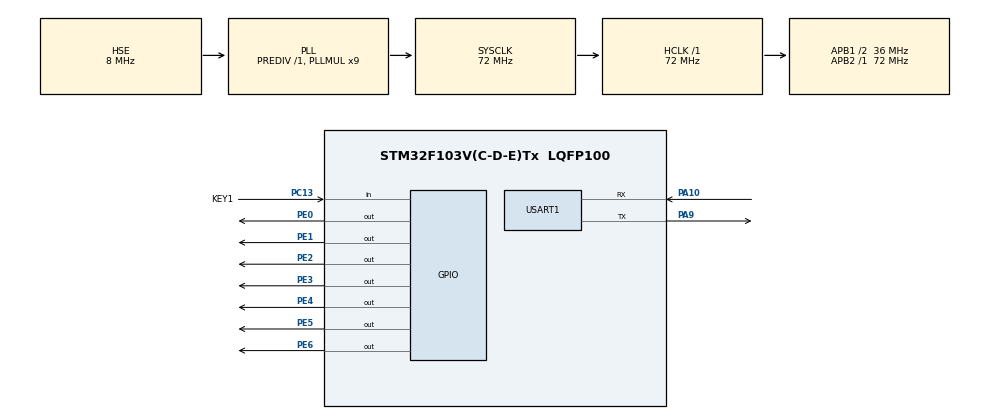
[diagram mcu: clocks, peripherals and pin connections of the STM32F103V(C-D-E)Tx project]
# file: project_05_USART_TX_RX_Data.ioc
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Mcu.Family=STM32F1
Mcu.Name=STM32F103V(C-D-E)Tx
Mcu.Package=LQFP100
NVIC.PriorityGroup=NVIC_PRIORITYGROUP_4
NVIC.USART1_IRQn=true\:0\:0\:false\:false\:true\:true\:true
OSC_IN.Mode=HSE-External-Oscillator
OSC_IN.Signal=RCC_OSC_IN
OSC_OUT.Mode=HSE-External-Oscillator
OSC_OUT.Signal=RCC_OSC_OUT
PA10.Mode=Asynchronous
PA10.Signal=USART1_RX
PA13.Mode=Serial_Wire
PA13.Signal=SYS_JTMS-SWDIO
PA14.Mode=Serial_Wire
PA14.Signal=SYS_JTCK-SWCLK
PA9.Mode=Asynchronous
PA9.Signal=USART1_TX
PC13-TAMPER-RTC.GPIO_Label=KEY1
PC13-TAMPER-RTC.GPIO_PuPd=GPIO_PULLUP
PC13-TAMPER-RTC.Signal=GPIO_Input
PC14-OSC32_IN.Mode=LSE-External-Oscillator
PC14-OSC32_IN.Signal=RCC_OSC32_IN
PC15-OSC32_OUT.Mode=LSE-External-Oscillator
PC15-OSC32_OUT.Signal=RCC_OSC32_OUT
PE0.PinState=GPIO_PIN_SET
PE0.Signal=GPIO_Output
PE1.PinState=GPIO_PIN_SET
PE1.Signal=GPIO_Output
PE2.PinState=GPIO_PIN_SET
PE2.Signal=GPIO_Output
PE3.PinState=GPIO_PIN_SET
PE3.Signal=GPIO_Output
PE4.PinState=GPIO_PIN_SET
PE4.Signal=GPIO_Output
PE5.PinState=GPIO_PIN_SET
PE5.Signal=GPIO_Output
PE6.PinState=GPIO_PIN_SET
PE6.Signal=GPIO_Output
ProjectManager.HeapSize=0x200
ProjectManager.StackSize=0x400
ProjectManager.TargetToolchain=STM32CubeIDE
RCC.AHBFreq_Value=72000000
RCC.APB1CLKDivider=RCC_HCLK_DIV2
RCC.APB1Freq_Value=36000000
RCC.APB1TimFreq_Value=72000000
RCC.APB2Freq_Value=72000000
RCC.APB2TimFreq_Value=72000000
RCC.HCLKFreq_Value=72000000
RCC.PLLMUL=RCC_PLL_MUL9
RCC.PLLSourceVirtual=RCC_PLLSOURCE_HSE
RCC.SYSCLKFreq_VALUE=72000000
RCC.SYSCLKSource=RCC_SYSCLKSOURCE_PLLCLK
RCC.USBFreq_Value=72000000
USART1.VirtualMode=VM_ASYNC
board=custom

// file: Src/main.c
/* USER CODE BEGIN Header */
/**
  ******************************************************************************
  * @file           : main.c
  * @brief          : Main program body
  ******************************************************************************
  * @attention
  *
  * <h2><center>&copy; Copyright (c) 2020 STMicroelectronics.
  * All rights reserved.</center></h2>
  *
  * This software component is licensed by ST under BSD 3-Clause license,
  * the "License"; You may not use this file except in compliance with the
  * License. You may obtain a copy of the License at:
  *                        opensource.org/licenses/BSD-3-Clause
  *
  ******************************************************************************
  */
/* USER CODE END Header */

#include "main.h"
#include "usart.h"
#include "gpio.h"

void SystemClock_Config(void);

/* USER CODE BEGIN 0 */
//LED灯开关宏定义
#define LED0_ON() HAL_GPIO_WritePin(GPIOE,GPIO_PIN_0,GPIO_PIN_RESET)
#define LED0_OFF() HAL_GPIO_WritePin(GPIOE,GPIO_PIN_0,GPIO_PIN_SET)
#define LED1_ON() HAL_GPIO_WritePin(GPIOE,GPIO_PIN_1,GPIO_PIN_RESET)
#define LED1_OFF() HAL_GPIO_WritePin(GPIOE,GPIO_PIN_1,GPIO_PIN_SET)
//定义发???数据的字符??
uint8_t TX_Restr[] = "hellochen\r\n";
uint8_t TX_str1[] = "open\r\n";
uint8_t TX_str2[] = "close\r\n";
uint8_t Rx_data = 0;

//接收数据回调函数
void HAL_UART_RxCpltCallback(UART_HandleTypeDef *huart) {
    if (huart->Instance == USART1) {
        if (Rx_data == 0x01) {
            LED1_ON();

            LED0_ON();
            HAL_UART_Transmit(&huart1, TX_str1, sizeof(TX_str1), 10000);
            LED0_OFF();
            HAL_UART_Receive_IT(&huart1, &Rx_data, 1);
        } else if (Rx_data == 0x02) {
            LED1_OFF();

            LED0_ON();
            HAL_UART_Transmit(&huart1, TX_str2, sizeof(TX_str2), 10000);
            LED0_OFF();
            HAL_UART_Receive_IT(&huart1, &Rx_data, 1);
        }
    }
}

/* USER CODE END 0 */

int main(void)
{

    /* MCU Configuration--------------------------------------------------------*/

    /* Reset of all peripherals, Initializes the Flash interface and the Systick. */
    HAL_Init();

    /* Configure the system clock */
    SystemClock_Config();

    /* Initialize all configured peripherals */
    MX_GPIO_Init();
    MX_USART1_UART_Init();
    /* USER CODE BEGIN 2 */
//    LED0_ON();
//    HAL_UART_Transmit(&huart1, TX_Restr, sizeof(TX_Restr), 10000);
//    LED0_OFF();
    LED1_ON();
    HAL_UART_Receive_IT(&huart1, &Rx_data, 1);
    LED1_OFF();
    HAL_UART_Transmit(&huart1, TX_Restr, sizeof(TX_Restr), 10000);
    /* USER CODE END 2 */

    /* Infinite loop */
    while (1) {

    }
}

void SystemClock_Config(void)
{
    RCC_OscInitTypeDef RCC_OscInitStruct = {0};
    RCC_ClkInitTypeDef RCC_ClkInitStruct = {0};

    /** Initializes the CPU, AHB and APB busses clocks
    */
    RCC_OscInitStruct.OscillatorType = RCC_OSCILLATORTYPE_HSE;
    RCC_OscInitStruct.HSEState = RCC_HSE_ON;
    RCC_OscInitStruct.HSEPredivValue = RCC_HSE_PREDIV_DIV1;
    RCC_OscInitStruct.HSIState = RCC_HSI_ON;
    RCC_OscInitStruct.PLL.PLLState = RCC_PLL_ON;
    RCC_OscInitStruct.PLL.PLLSource = RCC_PLLSOURCE_HSE;
    RCC_OscInitStruct.PLL.PLLMUL = RCC_PLL_MUL9;
    if (HAL_RCC_OscConfig(&RCC_OscInitStruct) != HAL_OK)
    {
        Error_Handler();
    }
    /** Initializes the CPU, AHB and APB busses clocks
    */
    RCC_ClkInitStruct.ClockType = RCC_CLOCKTYPE_HCLK|RCC_CLOCKTYPE_SYSCLK
                                  |RCC_CLOCKTYPE_PCLK1|RCC_CLOCKTYPE_PCLK2;
    RCC_ClkInitStruct.SYSCLKSource = RCC_SYSCLKSOURCE_PLLCLK;
    RCC_ClkInitStruct.AHBCLKDivider = RCC_SYSCLK_DIV1;
    RCC_ClkInitStruct.APB1CLKDivider = RCC_HCLK_DIV2;
    RCC_ClkInitStruct.APB2CLKDivider = RCC_HCLK_DIV1;

    if (HAL_RCC_ClockConfig(&RCC_ClkInitStruct, FLASH_LATENCY_2) != HAL_OK)
    {
        Error_Handler();
    }
}

void Error_Handler(void)
{
}

/************************ (C) COPYRIGHT STMicroelectronics *****END OF FILE****/
